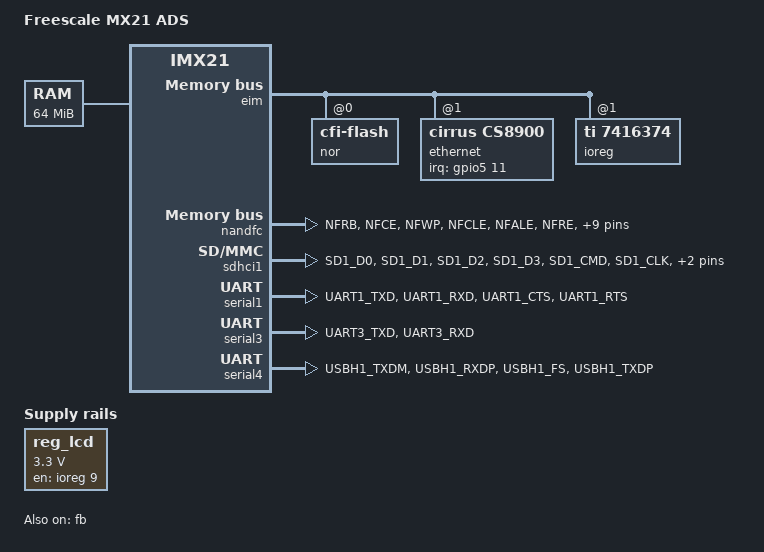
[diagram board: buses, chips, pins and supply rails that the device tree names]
// SPDX-License-Identifier: GPL-2.0-or-later
/* Author: Alexander Shiyan <shc_work@mail.ru> */

/dts-v1/;

#include "imx21.dtsi"

#include <dt-bindings/gpio/gpio.h>
#include <dt-bindings/interrupt-controller/irq.h>

/ {
	model = "Freescale MX21 ADS";
	compatible = "fsl,imx21ads", "fsl,imx21";

	chosen {
		stdout-path = &serial1;
	};

	memory {
		device_type = "memory";
		reg = <0xc0000000 0x04000000>;
	};

	display: LQ035Q7 {
		model = "Sharp-LQ035Q7";
		native-mode = <&timing>;
		bits-per-pixel = <16>;
		fsl,pcr = <0xfb108bc7>;

		display-timings {
			timing: 240x320 {
				clock-frequency = <5500000>;
				hactive = <240>;
				vactive = <320>;
				hback-porch = <6>;
				hsync-len = <2>;
				hfront-porch = <16>;
				vback-porch = <8>;
				vsync-len = <1>;
				vfront-porch = <10>;
				vsync-active = <0>;
			};
		};
	};

	led3: led3 {
		compatible = "gpio-leds";
		label = "system::live";
		gpios = <&ioreg 15 GPIO_ACTIVE_LOW>;
		linux,default-trigger = "heartbeat";
	};

	led4: led4 {
		compatible = "gpio-leds";
		label = "system::user";
		gpios = <&ioreg 14 GPIO_ACTIVE_LOW>;
	};

	reg_lcd: regulator_lcd {
		compatible = "regulator-fixed";
		regulator-name = "lcd";
		regulator-min-microvolt = <3300000>;
		regulator-max-microvolt = <3300000>;
		gpio = <&ioreg 9 GPIO_ACTIVE_HIGH>;
		enable-active-high;
	};
};

&eim {
	status = "okay";

	nor: nor@0,0 {
		compatible = "cfi-flash";
		reg = <0 0x00000000 0x02000000>;
		bank-width = <2>;
		fsl,weim-cs-timing = <0x00003e00 0x00000e01>;
		#address-cells = <1>;
		#size-cells = <1>;
	};

	ethernet: cs8900a@1,0 {
		pinctrl-names = "default";
		pinctrl-0 = <&pinctrl_ethernet>;
		compatible = "cirrus,cs8900";
		reg = <1 0x00000000 0x00001000>;
		interrupt-parent = <&gpio5>;
		interrupts = <11 IRQ_TYPE_LEVEL_LOW>;
		fsl,weim-cs-timing = <0x00002000 0x11118501>;
	};

	ioreg: ioreg@1,800000 {
		compatible = "ti,7416374";
		reg = <1 0x00800000 0x00000002>;
		gpio-controller;
		fsl,weim-cs-timing = <0x00002000 0x11118501>;
		#gpio-cells = <2>;
	};
};

&fb {
	pinctrl-names = "default";
	pinctrl-0 = <&pinctrl_fb>;
	display = <&display>;
	fsl,dmacr = <0x00020008>;
	fsl,lscr1 = <0x00120300>;
	fsl,lpccr = <0x00a903ff>;
	lcd-supply = <&reg_lcd>;
	status = "okay";
};

&nandfc {
	pinctrl-names = "default";
	pinctrl-0 = <&pinctrl_nandfc>;
	nand-bus-width = <8>;
	nand-ecc-mode = "hw";
	nand-on-flash-bbt;
	status = "okay";
};

&sdhci1 {
	pinctrl-names = "default";
	pinctrl-0 = <&pinctrl_sdhci1>;
	cd-gpios = <&gpio4 25 GPIO_ACTIVE_LOW>;
	status = "okay";
};

&serial1 {
	pinctrl-names = "default";
	pinctrl-0 = <&pinctrl_serial1>;
	uart-has-rtscts;
	status = "okay";
};

&serial3 {
	pinctrl-names = "default";
	pinctrl-0 = <&pinctrl_serial3>;
	status = "okay";
};

&serial4 {
	pinctrl-names = "default";
	pinctrl-0 = <&pinctrl_serial4>;
	uart-has-rtscts;
	status = "okay";
};

&iomuxc {
	imx21_ads21 {
		pinctrl_ethernet: ethernetgrp {
			fsl,pins = <
				MX21_PAD_UART3_RTS__GPIO5_11	0x0	/* IRQ */
			>;
		};

		pinctrl_fb: fbgrp {
			fsl,pins = <
				MX21_PAD_LSCLK__LSCLK		0x0
				MX21_PAD_LD0__LD0		0x0
				MX21_PAD_LD1__LD1		0x0
				MX21_PAD_LD2__LD2		0x0
				MX21_PAD_LD3__LD3		0x0
				MX21_PAD_LD4__LD4		0x0
				MX21_PAD_LD5__LD5		0x0
				MX21_PAD_LD6__LD6		0x0
				MX21_PAD_LD7__LD7		0x0
				MX21_PAD_LD8__LD8		0x0
				MX21_PAD_LD9__LD9		0x0
				MX21_PAD_LD10__LD10		0x0
				MX21_PAD_LD11__LD11		0x0
				MX21_PAD_LD12__LD12		0x0
				MX21_PAD_LD13__LD13		0x0
				MX21_PAD_LD14__LD14		0x0
				MX21_PAD_LD15__LD15		0x0
				MX21_PAD_REV__REV		0x0
				MX21_PAD_CLS__CLS		0x0
				MX21_PAD_PS__PS			0x0
				MX21_PAD_SPL_SPR__SPL_SPR	0x0
				MX21_PAD_HSYNC__HSYNC		0x0
				MX21_PAD_VSYNC__VSYNC		0x0
				MX21_PAD_CONTRAST__CONTRAST	0x0
				MX21_PAD_OE_ACD__OE_ACD		0x0
			>;
		};

		pinctrl_nandfc: nandfcgrp {
			fsl,pins = <
				MX21_PAD_NFRB__NFRB		0x0
				MX21_PAD_NFCE__NFCE		0x0
				MX21_PAD_NFWP__NFWP		0x0
				MX21_PAD_NFCLE__NFCLE		0x0
				MX21_PAD_NFALE__NFALE		0x0
				MX21_PAD_NFRE__NFRE		0x0
				MX21_PAD_NFWE__NFWE		0x0
				MX21_PAD_NFIO0__NFIO0		0x0
				MX21_PAD_NFIO1__NFIO1		0x0
				MX21_PAD_NFIO2__NFIO2		0x0
				MX21_PAD_NFIO3__NFIO3		0x0
				MX21_PAD_NFIO4__NFIO4		0x0
				MX21_PAD_NFIO5__NFIO5		0x0
				MX21_PAD_NFIO6__NFIO6		0x0
				MX21_PAD_NFIO7__NFIO7		0x0
			>;
		};

		pinctrl_sdhci1: sdhci1grp {
			fsl,pins = <
				MX21_PAD_SD1_D0__SD1_D0		0x0
				MX21_PAD_SD1_D1__SD1_D1		0x0
				MX21_PAD_SD1_D2__SD1_D2		0x0
				MX21_PAD_SD1_D3__SD1_D3		0x0
				MX21_PAD_SD1_CMD__SD1_CMD	0x0
				MX21_PAD_SD1_CLK__SD1_CLK	0x0
				MX21_PAD_CSPI1_RDY__GPIO4_25	0x0	/* CD */
			>;
		};

		pinctrl_serial1: serial1grp {
			fsl,pins = <
				MX21_PAD_UART1_TXD__UART1_TXD	0x0
				MX21_PAD_UART1_RXD__UART1_RXD	0x0
				MX21_PAD_UART1_CTS__UART1_CTS	0x0
				MX21_PAD_UART1_RTS__UART1_RTS	0x0
			>;
		};

		pinctrl_serial3: serial3grp {
			fsl,pins = <
				MX21_PAD_UART3_TXD__UART3_TXD	0x0
				MX21_PAD_UART3_RXD__UART3_RXD	0x0
			>;
		};

		pinctrl_serial4: serial4grp {
			fsl,pins = <
				MX21_PAD_USBH1_TXDM__UART4_TXD	0x0
				MX21_PAD_USBH1_RXDP__UART4_RXD	0x0
				MX21_PAD_USBH1_FS__UART4_RTS	0x0
				MX21_PAD_USBH1_TXDP__UART4_CTS	0x0
			>;
		};
	};
};
